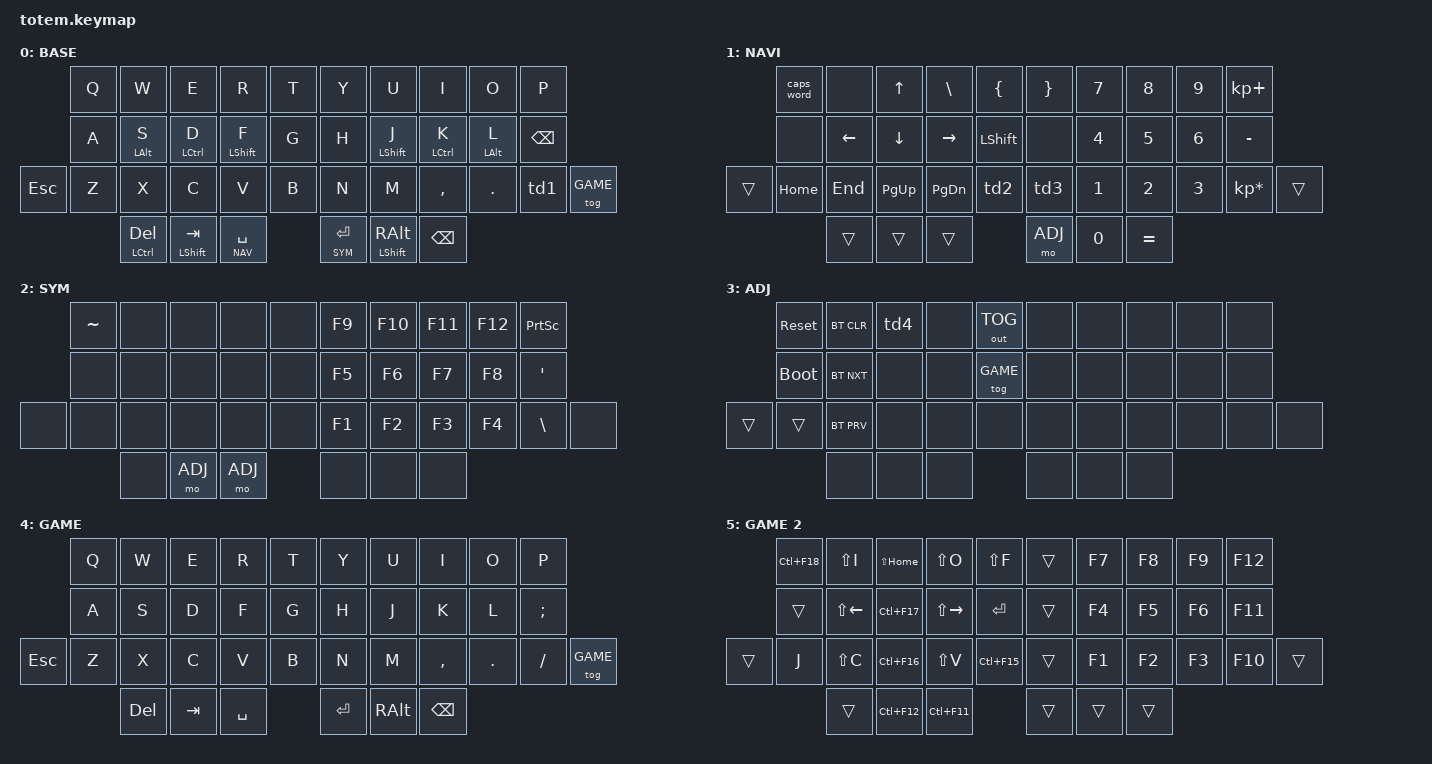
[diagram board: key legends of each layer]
//
//                                                        ▀▀▀▀▀     ▀▀▀▀▀          ▀▀█▀▀
//                                                        ▄▀▀▀▄  ▄  ▄▀▀▀▄  ▄  ▄▀▀▀▄  █  ▄▀▀▀▄
//                                                        █   █  █  █   █  █  █   █  █  █   █
//                                                         ▀▀▀   █   ▀▀▀   █   ▀▀▀   ▀   ▀▀▀
//                                                               █      ▄▄▄█▄▄▄    █   █  
//                                                               ▀      █  █  █     █▄█
//                                                             ▀▀▀▀▀    █  █  █      ▀
//                                                                      ▀  ▀  ▀
//
// ▄▄▄▄▄▄▄▄▄▄▄▄▄▄▄▄▄▄▄▄▄▄▄▄▄▄▄▄▄▄▄▄▄▄▄▄▄▄▄▄▄▄▄▄▄▄▄▄▄▄▄▄▄▄▄▄▄▄▄▄▄▄▄▄▄▄▄▄▄▄▄▄▄▄▄▄▄▄▄▄▄▄▄▄▄▄▄▄▄▄▄▄▄▄▄▄▄▄▄▄▄▄▄▄▄▄▄▄▄▄▄▄▄▄▄▄▄▄▄▄▄▄▄▄▄▄▄▄▄▄▄▄▄▄▄▄▄▄▄▄▄▄▄▄▄▄▄▄▄
       

#include <behaviors.dtsi>
#include <dt-bindings/zmk/keys.h>
#include <dt-bindings/zmk/bt.h>
#include <dt-bindings/zmk/outputs.h>
#include <dt-bindings/zmk/ext_power.h>

#define BASE 0
#define NAV  1
#define SYM  2
#define ADJ  3
#define GAME 4
#define GAME2 5

#define COMBO(NAME, BINDINGS, KEYPOS) \
  combo_##NAME { \
    timeout-ms = <50>; \
    bindings = <BINDINGS>; \
    key-positions = <KEYPOS>; \
    layers = <0>; \
  };

&mt {
  tapping-term-ms = <240>;
  flavor = "balanced";
  quick-tap-ms = <150>;
};

&lt {
    tapping-term-ms = <240>;
    flavor = "balanced";
    quick-tap-ms = <150>;
};

/{
        combos {
                compatible = "zmk,combos";
                                              
	        COMBO(ctrl+c, &kp LC(C), 22 23)
                COMBO(ctrl+v, &kp LC(V), 23 24)
                COMBO(ctrl+x, &kp LC(X), 21 22)
                COMBO(win, &kp LGUI, 20 34)
                COMBO(dcq, &kp LS(Q), 00 10)
                COMBO(dcw, &kp LS(W), 01 11)
                COMBO(dce, &kp LS(E), 02 12)
                COMBO(dcr, &kp LS(R), 03 13)
                COMBO(dct, &kp LS(T), 04 14)
		COMBO(semi, &kp SEMI, 19 30)
    };

        behaviors {
        hm: homerow_mods {
            compatible = "zmk,behavior-hold-tap";
            label = "HOMEROW_MODS";
            #binding-cells = <2>;
            flavor = "tap-preferred";
            tapping-term-ms = <170>;
            quick-tap-ms = <100>;
            global-quick-tap;
            bindings =
                <&kp>,
                <&kp>;
        };
    };

	behaviors {
	td0: tap_dance_0 {
        compatible = "zmk,behavior-tap-dance";
        #binding-cells = <0>;
        tapping-term-ms = <300>;
        bindings = <&sys_reset>, <&bootloader>;
        };	
        td1: tap_dance_1 {
        compatible = "zmk,behavior-tap-dance";
        #binding-cells = <0>;
        tapping-term-ms = <300>;
        bindings = <&kp FSLH>, <&kp QMARK>;
	};
	td2: tap_dance_2 {
        compatible = "zmk,behavior-tap-dance";
        #binding-cells = <0>;
        tapping-term-ms = <200>;
        bindings = <&kp LPAR>, <&kp LBKT>, <&kp LBRC>;
	};
	td3: tap_dance_3 {
        compatible = "zmk,behavior-tap-dance";
        #binding-cells = <0>;
        tapping-term-ms = <200>;
        bindings = <&kp RPAR>, <&kp RBKT>, <&kp RBRC>;    
        }; 
	td4: tap_dance_4 {
        compatible = "zmk,behavior-tap-dance";
        #binding-cells = <0>;
        tapping-term-ms = <300>;
        bindings = <&bt BT_SEL 0>, <&bt BT_SEL 1>, <&bt BT_SEL 2>, <&bt BT_SEL 3>, <&bt BT_SEL 4>;
        };
};


    macros {
       
    };

        keymap {
                compatible = "zmk,keymap";
// ▄▄▄▄▄▄▄▄▄▄▄▄▄▄▄▄▄▄▄▄▄▄▄▄▄▄▄▄▄▄▄▄▄▄▄▄▄▄▄▄▄▄▄▄▄▄▄▄▄▄▄▄▄▄▄▄▄▄▄▄▄▄▄▄▄▄▄▄▄▄▄▄▄▄▄▄▄▄▄▄▄▄▄▄▄▄▄▄▄▄▄▄▄▄▄▄▄▄▄▄▄▄▄▄▄▄▄▄▄▄▄▄▄▄▄▄▄▄▄▄▄▄▄▄▄▄▄▄▄▄▄▄▄▄▄▄▄▄▄▄▄▄▄▄▄▄▄▄▄

                base_layer {
// ┏━━━━━━━━━━━━━━━━━━━━━━━━━━━━━━━━━━━━━━━┓
label= "BASE"                              ;
// ┗━━━━━━━━━━━━━━━━━━━━━━━━━━━━━━━━━━━━━━━┛
//             ┏━━━━━━━━━━━┳━━━━━━━━━━━┳━━━━━━━━━━━┳━━━━━━━━━━━┳━━━━━━━━━━━┓   ┏━━━━━━━━━━━┳━━━━━━━━━━━┳━━━━━━━━━━━┳━━━━━━━━━━━┳━━━━━━━━━━━┓
//             ┃     Q     ┃     W     ┃     E     ┃     R     ┃     T     ┃   ┃     Y     ┃     U     ┃     I     ┃     O     ┃     P     ┃
//             ┣━━━━━━━━━━━╋━━━━━━━━━━━╋━━━━━━━━━━━╋━━━━━━━━━━━╋━━━━━━━━━━━┫   ┣━━━━━━━━━━━╋━━━━━━━━━━━╋━━━━━━━━━━━╋━━━━━━━━━━━╋━━━━━━━━━━━┫
//             ┃     A     ┃     S     ┃     D     ┃     F     ┃     G     ┃   ┃     H     ┃     J     ┃     K     ┃     L     ┃     ;     ┃
// ┏━━━━━━━━━━━╋━━━━━━━━━━━╋━━━━━━━━━━━╋━━━━━━━━━━━╋━━━━━━━━━━━╋━━━━━━━━━━━┫   ┣━━━━━━━━━━━╋━━━━━━━━━━━╋━━━━━━━━━━━╋━━━━━━━━━━━╋━━━━━━━━━━━╋━━━━━━━━━━━┓
// ┃    ESC    ┃     Z     ┃     X     ┃     C     ┃     V     ┃     B     ┃   ┃     N     ┃     M     ┃     ,     ┃     .     ┃     /     ┃   SHIFT   ┃
// ┗━━━━━━━━━━━┻━━━━━━━━━━━┻━━━━━━━━━━━╋━━━━━━━━━━━╋━━━━━━━━━━━╋━━━━━━━━━━━┫   ┣━━━━━━━━━━━╋━━━━━━━━━━━╋━━━━━━━━━━━╋━━━━━━━━━━━┻━━━━━━━━━━━┻━━━━━━━━━━━┛
//                                     ┃    DEL    ┃    TAB    ┃    SPC    ┃   ┃   ENTER   ┃    RALT   ┃   BSPC    ┃
//                                     ┗━━━━━━━━━━━┻━━━━━━━━━━━┻━━━━━━━━━━━┛   ┗━━━━━━━━━━━┻━━━━━━━━━━━┻━━━━━━━━━━━┛
 bindings = <
// ╷           ╷           ╷           ╷           ╷           ╷           ╷   ╷           ╷           ╷           ╷           ╷           ╷           ╷

              &kp Q       &kp W       &kp E       &kp R       &kp T           &kp Y       &kp U         &kp I       &kp O       &kp P
              &kp A       &hm LALT S  &hm LCTRL D &hm LSHFT F &kp G           &kp H       &hm LSHFT J   &hm LCTRL K &hm LALT L  &kp BSPC
    &kp ESC   &kp Z       &kp X       &kp C       &kp V       &kp B           &kp N       &kp M         &kp COMMA   &kp DOT     &td1    &tog GAME
                           &mt LCTRL DEL    &mt LSHFT TAB   &lt NAV SPACE	    &lt SYM RET  &mt LSHFT RALT  &kp BSPC
                        >;
                };

// ▄▄▄▄▄▄▄▄▄▄▄▄▄▄▄▄▄▄▄▄▄▄▄▄▄▄▄▄▄▄▄▄▄▄▄▄▄▄▄▄▄▄▄▄▄▄▄▄▄▄▄▄▄▄▄▄▄▄▄▄▄▄▄▄▄▄▄▄▄▄▄▄▄▄▄▄▄▄▄▄▄▄▄▄▄▄▄▄▄▄▄▄▄▄▄▄▄▄▄▄▄▄▄▄▄▄▄▄▄▄▄▄▄▄▄▄▄▄▄▄▄▄▄▄▄▄▄▄▄▄▄▄▄▄▄▄▄▄▄▄▄▄▄▄▄▄▄▄▄


                nav_layer {
// ┏━━━━━━━━━━━━━━━━━━━━━━━━━━━━━━━━━━━━━━━┓
label= "NAVI"                              ;
// ┗━━━━━━━━━━━━━━━━━━━━━━━━━━━━━━━━━━━━━━━┛
//             ┏━━━━━━━━━━━┳━━━━━━━━━━━┳━━━━━━━━━━━┳━━━━━━━━━━━┳━━━━━━━━━━━┓   ┏━━━━━━━━━━━┳━━━━━━━━━━━┳━━━━━━━━━━━┳━━━━━━━━━━━┳━━━━━━━━━━━┓
//             ┃ caps lock ┃    NUM    ┃     UP    ┃   BSLH    ┃     {     ┃   ┃     }     ┃     7     ┃     8     ┃     9     ┃     +     ┃
//             ┣━━━━━━━━━━━╋━━━━━━━━━━━╋━━━━━━━━━━━╋━━━━━━━━━━━╋━━━━━━━━━━━┫   ┣━━━━━━━━━━━╋━━━━━━━━━━━╋━━━━━━━━━━━╋━━━━━━━━━━━╋━━━━━━━━━━━┫
//             ┃    snap   ┃   LEFT    ┃    DOWN   ┃   RIGHT   ┃     [     ┃   ┃     ]     ┃     4     ┃     5     ┃     6     ┃     -     ┃
// ┏━━━━━━━━━━━╋━━━━━━━━━━━╋━━━━━━━━━━━╋━━━━━━━━━━━╋━━━━━━━━━━━╋━━━━━━━━━━━┫   ┣━━━━━━━━━━━╋━━━━━━━━━━━╋━━━━━━━━━━━╋━━━━━━━━━━━╋━━━━━━━━━━━╋━━━━━━━━━━━┓
// ┃    ESC    ┃    HOME   ┃    END    ┃   PG UP   ┃  PG DOWN  ┃     (     ┃   ┃     )     ┃     1     ┃     2     ┃     3     ┃     *     ┃           ┃
// ┗━━━━━━━━━━━┻━━━━━━━━━━━┻━━━━━━━━━━━╋━━━━━━━━━━━╋━━━━━━━━━━━╋━━━━━━━━━━━┫   ┣━━━━━━━━━━━╋━━━━━━━━━━━╋━━━━━━━━━━━╋━━━━━━━━━━━┻━━━━━━━━━━━┻━━━━━━━━━━━┛
//                                     ┃    DEL    ┃    TAB    ┃    SPC    ┃   ┃    ADJ    ┃     0     ┃     =     ┃
//                                     ┗━━━━━━━━━━━┻━━━━━━━━━━━┻━━━━━━━━━━━┛   ┗━━━━━━━━━━━┻━━━━━━━━━━━┻━━━━━━━━━━━┛
 bindings = <
// ╷           ╷           ╷           ╷           ╷           ╷           ╷   ╷           ╷           ╷           ╷           ╷           ╷           ╷

                &caps_word  &none        &kp UP      &kp BSLH    &kp LBRC        &kp RBRC    &kp N7   &kp N8   &kp N9   &kp KP_PLUS
                &none       &kp LEFT     &kp DOWN    &kp RIGHT   &kp LSHFT       &none	     &kp N4   &kp N5   &kp N6   &kp MINUS
     &trans     &kp HOME    &kp END      &kp PG_UP   &kp PG_DN   &td2            &td3        &kp N1   &kp N2   &kp N3   &kp KP_MULTIPLY &trans     
                                         &trans      &trans      &trans          &mo ADJ     &kp N0   &kp EQUAL     
                        >;
                };

// ▄▄▄▄▄▄▄▄▄▄▄▄▄▄▄▄▄▄▄▄▄▄▄▄▄▄▄▄▄▄▄▄▄▄▄▄▄▄▄▄▄▄▄▄▄▄▄▄▄▄▄▄▄▄▄▄▄▄▄▄▄▄▄▄▄▄▄▄▄▄▄▄▄▄▄▄▄▄▄▄▄▄▄▄▄▄▄▄▄▄▄▄▄▄▄▄▄▄▄▄▄▄▄▄▄▄▄▄▄▄▄▄▄▄▄▄▄▄▄▄▄▄▄▄▄▄▄▄▄▄▄▄▄▄▄▄▄▄▄▄▄▄▄▄▄▄▄▄▄


                sim_layer {
// ┏━━━━━━━━━━━━━━━━━━━━━━━━━━━━━━━━━━━━━━━┓
label= "SYM"                               ;
// ┗━━━━━━━━━━━━━━━━━━━━━━━━━━━━━━━━━━━━━━━┛
//             ┏━━━━━━━━━━━┳━━━━━━━━━━━┳━━━━━━━━━━━┳━━━━━━━━━━━┳━━━━━━━━━━━┓   ┏━━━━━━━━━━━┳━━━━━━━━━━━┳━━━━━━━━━━━┳━━━━━━━━━━━┳━━━━━━━━━━━┓
//             ┃     !     ┃     @     ┃     #     ┃     $     ┃     %     ┃   ┃     ˆ     ┃     &     ┃     *     ┃     '     ┃     "     ┃
//             ┣━━━━━━━━━━━╋━━━━━━━━━━━╋━━━━━━━━━━━╋━━━━━━━━━━━╋━━━━━━━━━━━┫   ┣━━━━━━━━━━━╋━━━━━━━━━━━╋━━━━━━━━━━━╋━━━━━━━━━━━╋━━━━━━━━━━━┫
//             ┃           ┃           ┃           ┃           ┃           ┃   ┃           ┃           ┃           ┃           ┃           ┃ 
// ┏━━━━━━━━━━━╋━━━━━━━━━━━╋━━━━━━━━━━━╋━━━━━━━━━━━╋━━━━━━━━━━━╋━━━━━━━━━━━┫   ┣━━━━━━━━━━━╋━━━━━━━━━━━╋━━━━━━━━━━━╋━━━━━━━━━━━╋━━━━━━━━━━━╋━━━━━━━━━━━┓
// ┃           ┃           ┃           ┃           ┃           ┃           ┃   ┃           ┃           ┃           ┃           ┃           ┃     \     ┃       
// ┗━━━━━━━━━━━┻━━━━━━━━━━━┻━━━━━━━━━━━╋━━━━━━━━━━━╋━━━━━━━━━━━╋━━━━━━━━━━━┫   ┣━━━━━━━━━━━╋━━━━━━━━━━━╋━━━━━━━━━━━╋━━━━━━━━━━━┻━━━━━━━━━━━┻━━━━━━━━━━━┛
//                                     ┃           ┃           ┃    ADJ    ┃   ┃           ┃           ┃           ┃
//                                     ┗━━━━━━━━━━━┻━━━━━━━━━━━┻━━━━━━━━━━━┛   ┗━━━━━━━━━━━┻━━━━━━━━━━━┻━━━━━━━━━━━┛
 bindings = <
// ╷           ╷           ╷           ╷           ╷           ╷           ╷   ╷           ╷           ╷           ╷           ╷           ╷           ╷

                &kp TILDE   &none       &none       &none       &none           &kp F9      &kp F10    &kp F11     &kp F12    &kp PSCRN      
                &none       &none       &none       &none       &none           &kp F5      &kp F6     &kp F7      &kp F8     &kp APOSTROPHE
     &none      &none       &none       &none       &none       &none           &kp F1      &kp F2     &kp F3     &kp F4      &kp BSLH    &none    
                                        &none       &mo ADJ     &mo ADJ         &none       &none       &none     
                        >;
                };

// ▄▄▄▄▄▄▄▄▄▄▄▄▄▄▄▄▄▄▄▄▄▄▄▄▄▄▄▄▄▄▄▄▄▄▄▄▄▄▄▄▄▄▄▄▄▄▄▄▄▄▄▄▄▄▄▄▄▄▄▄▄▄▄▄▄▄▄▄▄▄▄▄▄▄▄▄▄▄▄▄▄▄▄▄▄▄▄▄▄▄▄▄▄▄▄▄▄▄▄▄▄▄▄▄▄▄▄▄▄▄▄▄▄▄▄▄▄▄▄▄▄▄▄▄▄▄▄▄▄▄▄▄▄▄▄▄▄▄▄▄▄▄▄▄▄▄▄▄▄


                adjust_layer {
// ┏━━━━━━━━━━━━━━━━━━━━━━━━━━━━━━━━━━━━━━━┓
label= "ADJ"                               ;
// ┗━━━━━━━━━━━━━━━━━━━━━━━━━━━━━━━━━━━━━━━┛
//             ┏━━━━━━━━━━━┳━━━━━━━━━━━┳━━━━━━━━━━━┳━━━━━━━━━━━┳━━━━━━━━━━━┓   ┏━━━━━━━━━━━┳━━━━━━━━━━━┳━━━━━━━━━━━┳━━━━━━━━━━━┳━━━━━━━━━━━┓
//             ┃   RESET   ┃  BT CLEAR ┃  OUT TOG  ┃           ┃           ┃   ┃           ┃     F7    ┃    F8     ┃    F9     ┃    F12    ┃
//             ┣━━━━━━━━━━━╋━━━━━━━━━━━╋━━━━━━━━━━━╋━━━━━━━━━━━╋━━━━━━━━━━━┫   ┣━━━━━━━━━━━╋━━━━━━━━━━━╋━━━━━━━━━━━╋━━━━━━━━━━━╋━━━━━━━━━━━┫
//             ┃ BOOTLOAD  ┃  BT NEXT  ┃           ┃           ┃    GAME   ┃   ┃           ┃     F4    ┃    F5     ┃    F6     ┃    F11    ┃
// ┏━━━━━━━━━━━╋━━━━━━━━━━━╋━━━━━━━━━━━╋━━━━━━━━━━━╋━━━━━━━━━━━╋━━━━━━━━━━━┫   ┣━━━━━━━━━━━╋━━━━━━━━━━ ╋━━━━━━━━━━━╋━━━━━━━━━━━╋━━━━━━━━━━━╋━━━━━━━━━━━┓
// ┃           ┃           ┃  BT PREV  ┃           ┃           ┃           ┃   ┃           ┃     F1    ┃    F2     ┃    F3     ┃    F10    ┃    SNAP   ┃
// ┗━━━━━━━━━━━┻━━━━━━━━━━━┻━━━━━━━━━━━╋━━━━━━━━━━━╋━━━━━━━━━━━╋━━━━━━━━━━━┫   ┣━━━━━━━━━━━╋━━━━━━━━━━━╋━━━━━━━━━━━╋━━━━━━━━━━━┻━━━━━━━━━━━┻━━━━━━━━━━━┛
//                                     ┃           ┃           ┃           ┃   ┃           ┃           ┃           ┃
//                                     ┗━━━━━━━━━━━┻━━━━━━━━━━━┻━━━━━━━━━━━┛   ┗━━━━━━━━━━━┻━━━━━━━━━━━┻━━━━━━━━━━━┛
 bindings = <
// ╷           ╷           ╷           ╷           ╷           ╷           ╷   ╷           ╷           ╷           ╷           ╷           ╷           ╷

                &sys_reset  &bt BT_CLR  &td4	    &none       &out OUT_TOG    &none       &none       &none       &none       &none
                &bootloader &bt BT_NXT  &none       &none       &tog GAME       &none       &none       &none       &none       &none  
    &trans      &trans      &bt BT_PRV  &none       &none       &none           &none       &none       &none       &none       &none     &none        
                                        &none       &none       &none           &none       &none     	 &none   
                        >;
                };

// ▄▄▄▄▄▄▄▄▄▄▄▄▄▄▄▄▄▄▄▄▄▄▄▄▄▄▄▄▄▄▄▄▄▄▄▄▄▄▄▄▄▄▄▄▄▄▄▄▄▄▄▄▄▄▄▄▄▄▄▄▄▄▄▄▄▄▄▄▄▄▄▄▄▄▄▄▄▄▄▄▄▄▄▄▄▄▄▄▄▄▄▄▄▄▄▄▄▄▄▄▄▄▄▄▄▄▄▄▄▄▄▄▄▄▄▄▄▄▄▄▄▄▄▄▄▄▄▄▄▄▄▄▄▄▄▄▄▄▄▄▄▄▄▄▄▄▄▄▄


                game_layer {
// ┏━━━━━━━━━━━━━━━━━━━━━━━━━━━━━━━━━━━━━━━┓
label= "GAME"                             ;
// ┗━━━━━━━━━━━━━━━━━━━━━━━━━━━━━━━━━━━━━━━┛
//             ┏━━━━━━━━━━━┳━━━━━━━━━━━┳━━━━━━━━━━━┳━━━━━━━━━━━┳━━━━━━━━━━━┓   ┏━━━━━━━━━━━┳━━━━━━━━━━━┳━━━━━━━━━━━┳━━━━━━━━━━━┳━━━━━━━━━━━┓
//             ┃    ESC    ┃           ┃     UP    ┃           ┃           ┃   ┃     Y     ┃     U     ┃     I     ┃     O     ┃     P     ┃
//             ┣━━━━━━━━━━━╋━━━━━━━━━━━╋━━━━━━━━━━━╋━━━━━━━━━━━╋━━━━━━━━━━━┫   ┣━━━━━━━━━━━╋━━━━━━━━━━━╋━━━━━━━━━━━╋━━━━━━━━━━━╋━━━━━━━━━━━┫
//             ┃           ┃   LEFT    ┃    DOWN   ┃   RIGHT   ┃           ┃   ┃     H     ┃     J     ┃     K     ┃     L     ┃     ;     ┃
// ┏━━━━━━━━━━━╋━━━━━━━━━━━╋━━━━━━━━━━━╋━━━━━━━━━━━╋━━━━━━━━━━━╋━━━━━━━━━━━┫   ┣━━━━━━━━━━━╋━━━━━━━━━━━╋━━━━━━━━━━━╋━━━━━━━━━━━╋━━━━━━━━━━━╋━━━━━━━━━━━┓
// ┃  OFF GAME ┃    ESC    ┃           ┃           ┃           ┃           ┃   ┃     N     ┃     M     ┃     ,     ┃     .     ┃     /     ┃   SHIFT   ┃
// ┗━━━━━━━━━━━┻━━━━━━━━━━━┻━━━━━━━━━━━╋━━━━━━━━━━━╋━━━━━━━━━━━╋━━━━━━━━━━━┫   ┣━━━━━━━━━━━╋━━━━━━━━━━━╋━━━━━━━━━━━╋━━━━━━━━━━━┻━━━━━━━━━━━┻━━━━━━━━━━━┛
//                                     ┃           ┃   ENTER   ┃     UP    ┃   ┃     UP    ┃     V     ┃     B     ┃
//                                     ┗━━━━━━━━━━━┻━━━━━━━━━━━┻━━━━━━━━━━━┛   ┗━━━━━━━━━━━┻━━━━━━━━━━━┻━━━━━━━━━━━┛
 bindings = <
// ╷           ╷           ╷           ╷           ╷           ╷           ╷   ╷           ╷           ╷           ╷           ╷           ╷           ╷

                &kp Q       &kp W       &kp E       &kp R       &kp T          &kp Y       &kp U        &kp I      &kp O       &kp P
                &kp A       &kp S       &kp D       &kp F       &kp G          &kp H       &kp J        &kp K      &kp L       &kp SEMI
    &kp ESC     &kp Z       &kp X       &kp C       &kp V       &kp B          &kp N       &kp M        &kp COMMA  &kp DOT     &kp SLASH      &tog GAME      
                                        &kp DEL     &kp TAB     &kp SPACE      &kp RET    &kp RALT      &kp BSPC
                        >;
                };

// ▄▄▄▄▄▄▄▄▄▄▄▄▄▄▄▄▄▄▄▄▄▄▄▄▄▄▄▄▄▄▄▄▄▄▄▄▄▄▄▄▄▄▄▄▄▄▄▄▄▄▄▄▄▄▄▄▄▄▄▄▄▄▄▄▄▄▄▄▄▄▄▄▄▄▄▄▄▄▄▄▄▄▄▄▄▄▄▄▄▄▄▄▄▄▄▄▄▄▄▄▄▄▄▄▄▄▄▄▄▄▄▄▄▄▄▄▄▄▄▄▄▄▄▄▄▄▄▄▄▄▄▄▄▄▄▄▄▄▄▄▄▄▄▄▄▄▄▄▄


                game2_layer {
// ┏━━━━━━━━━━━━━━━━━━━━━━━━━━━━━━━━━━━━━━━┓
label= "GAME 2"                             ;
// ┗━━━━━━━━━━━━━━━━━━━━━━━━━━━━━━━━━━━━━━━┛
//             ┏━━━━━━━━━━━┳━━━━━━━━━━━┳━━━━━━━━━━━┳━━━━━━━━━━━┳━━━━━━━━━━━┓   ┏━━━━━━━━━━━┳━━━━━━━━━━━┳━━━━━━━━━━━┳━━━━━━━━━━━┳━━━━━━━━━━━┓
//             ┃ SOLO      ┃ TOGGLE IN ┃ RESET ROT ┃ TOGGLE OUT┃ TAKE SNAP ┃   ┃           ┃           ┃           ┃           ┃           ┃
//             ┣━━━━━━━━━━━╋━━━━━━━━━━━╋━━━━━━━━━━━╋━━━━━━━━━━━╋━━━━━━━━━━━┫   ┣━━━━━━━━━━━╋━━━━━━━━━━━╋━━━━━━━━━━━╋━━━━━━━━━━━╋━━━━━━━━━━━┫
//             ┃ ---       ┃ LAST KEY  ┃ NEW KEY   ┃ NEXT KEY  ┃ ENTER     ┃   ┃           ┃           ┃           ┃           ┃           ┃
// ┏━━━━━━━━━━━╋━━━━━━━━━━━╋━━━━━━━━━━━╋━━━━━━━━━━━╋━━━━━━━━━━━╋━━━━━━━━━━━┫   ┣━━━━━━━━━━━╋━━━━━━━━━━━╋━━━━━━━━━━━╋━━━━━━━━━━━╋━━━━━━━━━━━╋━━━━━━━━━━━┓
// ┃           ┃ FULLSCR   ┃ CPY2BRUSH ┃ DEL HEAD  ┃ PSTinPLACE┃ BOOK MARK ┃   ┃           ┃           ┃           ┃           ┃           ┃           ┃
// ┗━━━━━━━━━━━┻━━━━━━━━━━━┻━━━━━━━━━━━╋━━━━━━━━━━━╋━━━━━━━━━━━╋━━━━━━━━━━━┫   ┣━━━━━━━━━━━╋━━━━━━━━━━━╋━━━━━━━━━━━╋━━━━━━━━━━━┻━━━━━━━━━━━┻━━━━━━━━━━━┛
//                                     ┃           ┃ REDO/SAV1 ┃TRANS/WARP ┃   ┃           ┃           ┃           ┃
//                                     ┗━━━━━━━━━━━┻━━━━━━━━━━━┻━━━━━━━━━━━┛   ┗━━━━━━━━━━━┻━━━━━━━━━━━┻━━━━━━━━━━━┛
 bindings = <
// ╷           ╷           ╷           ╷           ╷           ╷           ╷   ╷           ╷           ╷           ╷           ╷           ╷           ╷

                &kp LC(F18) &kp LS(I)  &kp LS(HOME) &kp LS(O)   &kp LS(F)       &trans      &kp F7      &kp F8      &kp F9      &kp F12
                &trans      &kp LS(LEFT) &kp LC(F17) &kp LS(RIGHT) &kp RET      &trans      &kp F4      &kp F5      &kp F6      &kp F11  
    &trans      &kp J       &kp LS(C)   &kp LC(F16) &kp LS(V)   &kp LC(F15)     &trans      &kp F1      &kp F2      &kp F3      &kp F10     &trans         
                                        &trans      &kp LC(F12) &kp LC(F11)     &trans      &trans      &trans      
                        >;
                };
        };
};
